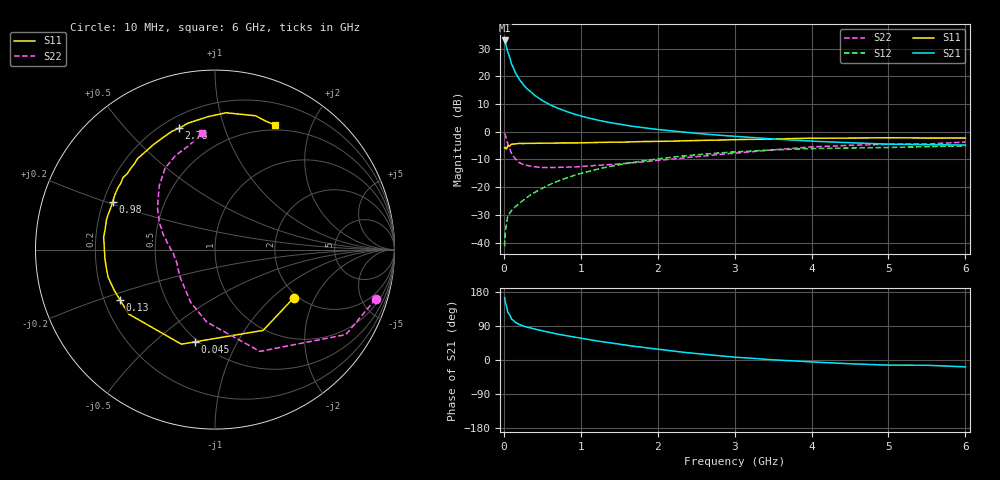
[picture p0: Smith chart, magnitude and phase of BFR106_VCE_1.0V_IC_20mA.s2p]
! Infineon Technologies  Discrete & RF Semiconductors
! BFR106
! VCE =  1.0 V,  IC =  20 mA
! Common Emitter S-Parameters:  Nov 2015
# GHz  S  MA  R  50
!  f  S11  S21  S12  S22
! GHz  MAG  ANG  MAG  ANG  MAG  ANG  MAG  ANG
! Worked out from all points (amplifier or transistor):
!   210 points, 10 MHz to 6 GHz, reference 50 ohm
!   highest |S21| = 33.0 dB at 10 MHz (marker M1)
!   |S21| within 3 dB of that: start of sweep to 40.15 MHz
!   unconditionally stable (mu >= 1): 340.7 MHz to 3.442 GHz; 3.588 GHz to 3.839 GHz; 4.069 GHz to end of sweep
!   at 185 MHz: K = 0.79, MSG = 23.0 dB, |S12| = -26.2 dB
!   at 1.52 GHz: K = 1.08, MAG = 5.5 dB, |S12| = -11.8 dB
!   at 6 GHz: K = 1.02, MAG = -0.8 dB, |S12| = -5.1 dB
!   S11 on the Smith chart (normalised r, x): 10 MHz: 1.89, -1.39; 45 MHz: 0.48, -0.68; 130 MHz: 0.27, -0.23; 980 MHz: 0.24, +0.21; 2.78 GHz: 0.26, +0.71; 6 GHz: 0.44, +1.50
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0.01  0.5142 -31.6  44.42 164.7  0.0086 79.8  0.9365 -17.1
0.02  0.5239 -59.2  40.78 152.0  0.0159 70.4  0.8692 -33.0
0.045  0.526 -102.3  29.64 132.1  0.0268 53.7  0.6427 -59.1
0.05  0.5592 -109.6  28.04 126.4  0.0291 51.9  0.6199 -66.2
0.1  0.6004 -143.3  16.75 108.1  0.0381 46.6  0.4059 -96.6
0.13  0.5987 -152.0  13.62 103.5  0.0419 48.1  0.352 -106.5
0.15  0.6053 -157.8  11.6 99.1  0.0445 49.0  0.3235 -114.8
0.2  0.6151 -165.5  8.879 93.8  0.0506 51.8  0.2787 -126.1
0.24  0.614 -170.1  7.468 90.6  0.0564 53.9  0.2604 -133.9
0.3  0.6152 -175.3  5.975 86.7  0.0651 56.8  0.2469 -142.1
0.4  0.6177 178.2  4.535 81.5  0.0799 59.8  0.2331 -152.1
0.5  0.6242 173.6  3.652 76.9  0.0954 61.5  0.2263 -158.8
0.6  0.6223 169.2  3.071 72.4  0.1121 62.1  0.225 -163.0
0.98  0.6293 155.0  1.959 58.3  0.1734 60.0  0.234 -175.2
1.02  0.6315 153.6  1.891 56.9  0.1797 59.6  0.2363 -176.1
1.4  0.651 142.0  1.444 44.9  0.2387 54.6  0.2564 175.6
2.02  0.6692 124.9  1.09 27.9  0.3256 44.8  0.3061 162.3
2.78  0.7054 106.5  0.87 11.7  0.4119 32.2  0.3868 145.6
3.1  0.7233 100.1  0.807 6.2  0.4398 26.9  0.4212 138.9
4.1  0.7647 84.1  0.667 -6.0  0.4984 11.8  0.5386 119.6
5.1  0.7766 72.2  0.594 -13.7  0.523 0.1  0.5958 104.5
6  0.7707 64.2  0.576 -18.1  0.5552 -8.6  0.6516 96.2
